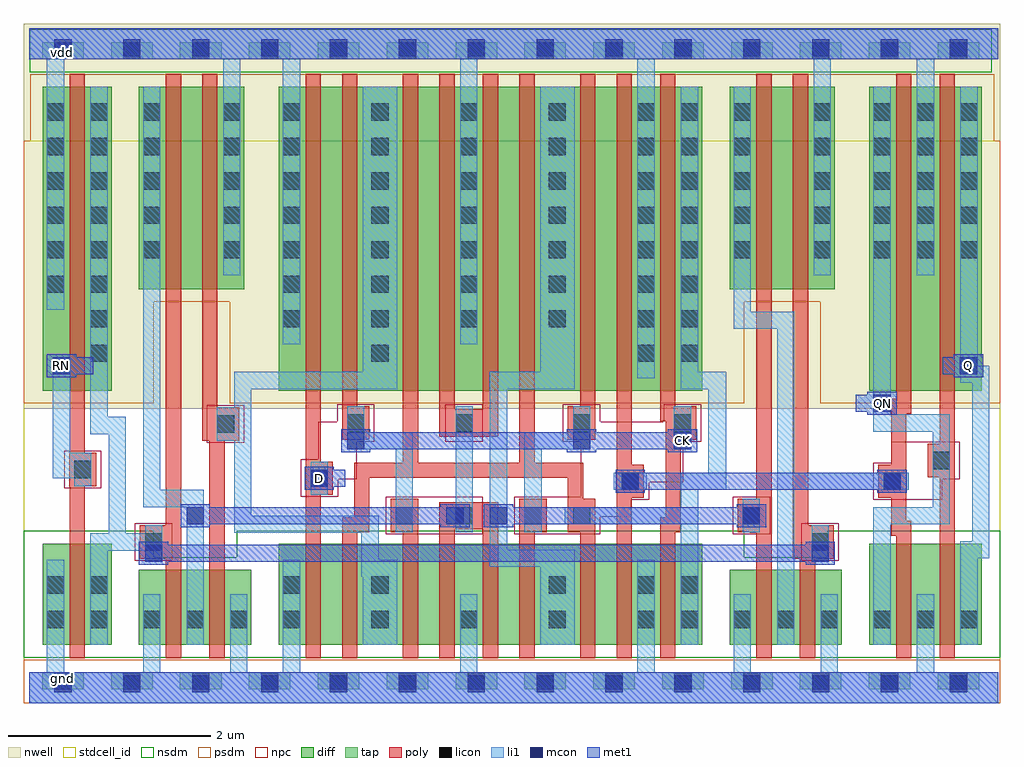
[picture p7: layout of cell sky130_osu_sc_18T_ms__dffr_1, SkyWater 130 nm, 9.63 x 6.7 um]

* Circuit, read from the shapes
.subckt sky130_osu_sc_18T_ms__dffr_1 CK D Q QN RN gnd vdd
XM1 n1 RN gnd gnd sky130_fd_pr__nfet_01v8 w=1 l=0.15
XM2 n2 n1 gnd gnd sky130_fd_pr__nfet_01v8 w=0.74 l=0.15
XM3 gnd n3 n2 gnd sky130_fd_pr__nfet_01v8 w=0.74 l=0.15
XM4 n4 D gnd gnd sky130_fd_pr__nfet_01v8 w=1 l=0.15
XM5 n3 n5 n4 gnd sky130_fd_pr__nfet_01v8 w=1 l=0.15
XM6 n6 CK n3 gnd sky130_fd_pr__nfet_01v8 w=1 l=0.15
XM7 gnd n2 n6 gnd sky130_fd_pr__nfet_01v8 w=1 l=0.15
XM8 n7 n2 gnd gnd sky130_fd_pr__nfet_01v8 w=1 l=0.15
XM9 n8 CK n7 gnd sky130_fd_pr__nfet_01v8 w=1 l=0.15
XM10 n9 n5 n8 gnd sky130_fd_pr__nfet_01v8 w=1 l=0.15
XM11 gnd n10 n9 gnd sky130_fd_pr__nfet_01v8 w=1 l=0.15
XM12 n5 CK gnd gnd sky130_fd_pr__nfet_01v8 w=1 l=0.15
XM13 n10 n8 gnd gnd sky130_fd_pr__nfet_01v8 w=0.74 l=0.15
XM14 gnd n1 n10 gnd sky130_fd_pr__nfet_01v8 w=0.74 l=0.15
XM15 gnd n10 QN gnd sky130_fd_pr__nfet_01v8 w=1 l=0.15
XM16 Q QN gnd gnd sky130_fd_pr__nfet_01v8 w=1 l=0.15
XM17 n1 RN vdd vdd sky130_fd_pr__pfet_01v8 w=3 l=0.15
XM18 n11 n1 n2 vdd sky130_fd_pr__pfet_01v8 w=2 l=0.15
XM19 vdd n3 n11 vdd sky130_fd_pr__pfet_01v8 w=2 l=0.15
XM20 n12 D vdd vdd sky130_fd_pr__pfet_01v8 w=3 l=0.15
XM21 n3 CK n12 vdd sky130_fd_pr__pfet_01v8 w=3 l=0.15
XM22 n13 n5 n3 vdd sky130_fd_pr__pfet_01v8 w=3 l=0.15
XM23 vdd n2 n13 vdd sky130_fd_pr__pfet_01v8 w=3 l=0.15
XM24 n14 n2 vdd vdd sky130_fd_pr__pfet_01v8 w=3 l=0.15
XM25 n8 n5 n14 vdd sky130_fd_pr__pfet_01v8 w=3 l=0.15
XM26 n15 CK n8 vdd sky130_fd_pr__pfet_01v8 w=3 l=0.15
XM27 vdd n10 n15 vdd sky130_fd_pr__pfet_01v8 w=3 l=0.15
XM28 n5 CK vdd vdd sky130_fd_pr__pfet_01v8 w=3 l=0.15
XM29 n16 n8 n10 vdd sky130_fd_pr__pfet_01v8 w=2 l=0.15
XM30 vdd n1 n16 vdd sky130_fd_pr__pfet_01v8 w=2 l=0.15
XM31 vdd n10 QN vdd sky130_fd_pr__pfet_01v8 w=3 l=0.15
XM32 Q QN vdd vdd sky130_fd_pr__pfet_01v8 w=3 l=0.15
.ends

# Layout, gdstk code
import gdstk
lib = gdstk.Library(unit=1e-6, precision=1e-09)
def R(c, l, rs):  # rectangles x0, y0, x1, y1
    for r in rs: c.add(gdstk.rectangle(r[:2], r[2:], *l))
def A(c, l, x, y, w, h, nx, ny, dx, dy):  # array of equal rectangles
    R(c, l, [(x+i*dx, y+j*dy, x+i*dx+w, y+j*dy+h) for i in range(nx) for j in range(ny)])
nwell = (64, 20)
diff = (65, 20)
tap = (65, 44)
poly = (66, 20)
licon = (66, 44)
li1 = (67, 20)
mcon = (67, 44)
met1 = (68, 20)
stdcell_id = (81, 4)
nsdm = (93, 44)
psdm = (94, 20)
npc = (95, 20)

sky130_osu_sc_18t_ms__df = lib.new_cell('sky130_osu_sc_18T_ms__dffr_1')
R(sky130_osu_sc_18t_ms__df, nwell, [(-0.05,2.905,9.585,6.705)])
R(sky130_osu_sc_18t_ms__df, diff, [(0.135,0.575,0.815,1.575), (1.085,0.575,2.195,1.315), (2.465,0.575,6.645,1.575), (6.915,0.575,8.025,1.315), (8.295,0.575,9.405,1.575), (0.135,3.085,0.815,6.085), (2.465,3.085,6.645,6.085), (8.295,3.085,9.405,6.085), (1.085,4.085,2.125,6.085), (6.915,4.085,7.955,6.085)])
A(sky130_osu_sc_18t_ms__df, tap, 0.13, 0.135, 0.41, 0.17, 14, 2, 0.68, 6.22)
R(sky130_osu_sc_18t_ms__df, poly, [(0.4,0.445,0.55,2.135), (1.35,0.445,1.5,1.425), (1.78,0.445,1.93,2.59), (2.73,0.445,2.88,2.055), (3.09,0.445,3.24,1.685), (3.69,0.445,3.84,1.685), (4.05,0.445,4.2,1.715), (4.48,0.445,4.63,1.715), (4.84,0.445,4.99,1.685), (5.44,0.445,5.59,1.685), (5.8,0.445,5.95,2.025), (6.23,0.445,6.38,1.685), (7.18,0.445,7.33,1.68), (7.61,0.445,7.76,1.425), (8.56,0.445,8.71,1.65), (8.99,0.445,9.14,2.23), (1.095,1.425,1.5,1.755), (7.54,1.425,7.945,1.755), (8.51,1.65,8.71,1.8), (7.115,1.68,7.33,1.685), (3.09,1.685,3.36,1.835), (3.57,1.685,3.84,2.015), (4.84,1.685,5.11,2.015), (5.32,1.685,5.59,2.015), (6.23,1.685,6.435,1.835), (6.995,1.685,7.33,2.015), (4.05,1.715,4.63,1.985), (1.35,1.755,1.5,6.215), (7.54,1.755,7.69,6.215), (8.51,1.8,8.66,2.025), (3.21,1.835,3.36,2.225), (6.285,1.835,6.435,2.6), (5.32,2.015,5.47,2.225), (7.18,2.015,7.33,6.215), (5.8,2.025,6.07,2.355), (8.385,2.025,8.66,2.355), (2.73,2.055,3,2.385), (0.395,2.135,0.55,2.14), (0.395,2.14,0.665,2.47), (3.21,2.225,5.47,2.375), (8.87,2.23,9.14,2.56), (5.8,2.355,5.95,6.215), (8.51,2.355,8.66,2.855), (3.69,2.375,3.84,6.215), (4.84,2.375,4.99,6.215), (2.73,2.385,2.88,6.215), (0.4,2.47,0.55,6.215), (8.99,2.56,9.14,6.215), (1.71,2.59,2.075,2.92), (3.09,2.6,3.36,2.93), (5.32,2.6,5.59,2.93), (6.285,2.6,6.585,2.78), (4.05,2.63,4.63,2.9), (6.23,2.78,6.585,2.93), (8.51,2.855,8.71,3.005), (4.05,2.9,4.2,6.215), (4.48,2.9,4.63,6.215), (1.71,2.92,1.86,6.215), (3.09,2.93,3.24,6.215), (5.44,2.93,5.59,6.215), (6.23,2.93,6.38,6.215), (8.56,3.005,8.71,6.215)])
A(sky130_osu_sc_18t_ms__df, licon, 0.25, 0.135, 0.17, 0.17, 14, 2, 0.68, 6.22)
A(sky130_osu_sc_18t_ms__df, licon, 1.125, 0.74, 0.17, 0.17, 3, 1, 0.43, 0)
A(sky130_osu_sc_18t_ms__df, licon, 2.505, 0.74, 0.17, 0.17, 5, 2, 0.875, 2.97)
A(sky130_osu_sc_18t_ms__df, licon, 6.955, 0.74, 0.17, 0.17, 3, 1, 0.43, 0)
A(sky130_osu_sc_18t_ms__df, licon, 8.335, 0.74, 0.17, 0.17, 3, 2, 0.43, 3.65)
A(sky130_osu_sc_18t_ms__df, licon, 0.605, 3.37, 0.17, 0.17, 1, 8, 0, 0.34)
A(sky130_osu_sc_18t_ms__df, licon, 6.435, 3.37, 0.17, 0.17, 1, 8, 0, 0.34)
A(sky130_osu_sc_18t_ms__df, licon, 0.175, 4.05, 0.17, 0.17, 1, 6, 0, 0.34)
A(sky130_osu_sc_18t_ms__df, licon, 2.505, 4.05, 0.17, 0.17, 5, 6, 0.875, 0.34)
A(sky130_osu_sc_18t_ms__df, licon, 1.125, 4.39, 0.17, 0.17, 1, 5, 0, 0.34)
A(sky130_osu_sc_18t_ms__df, licon, 1.915, 4.39, 0.17, 0.17, 1, 5, 0, 0.34)
A(sky130_osu_sc_18t_ms__df, licon, 6.955, 4.39, 0.17, 0.17, 1, 5, 0, 0.34)
A(sky130_osu_sc_18t_ms__df, licon, 7.745, 4.39, 0.17, 0.17, 1, 5, 0, 0.34)
A(sky130_osu_sc_18t_ms__df, licon, 8.335, 4.73, 0.17, 0.17, 3, 4, 0.43, 0.34)
R(sky130_osu_sc_18t_ms__df, licon, [(0.175,0.74,0.345,0.91), (0.605,0.74,0.775,0.91), (6.435,0.74,6.605,0.91), (0.175,1.08,0.345,1.25), (0.605,1.08,0.775,1.25), (2.505,1.08,2.675,1.25), (3.38,1.08,3.55,1.25), (5.13,1.08,5.3,1.25), (6.005,1.08,6.175,1.25), (6.435,1.08,6.605,1.25), (1.145,1.505,1.315,1.675), (7.725,1.505,7.895,1.675), (3.62,1.765,3.79,1.935), (4.21,1.765,4.38,1.935), (4.89,1.765,5.06,1.935), (5.37,1.765,5.54,1.935), (7.045,1.765,7.215,1.935), (5.85,2.105,6.02,2.275), (8.435,2.105,8.605,2.275), (2.78,2.135,2.95,2.305), (0.445,2.22,0.615,2.39), (8.92,2.31,9.09,2.48), (1.855,2.67,2.025,2.84), (3.14,2.68,3.31,2.85), (4.21,2.68,4.38,2.85), (5.37,2.68,5.54,2.85), (6.365,2.68,6.535,2.85), (3.38,3.37,3.55,3.54), (6.005,3.37,6.175,3.54)])
R(sky130_osu_sc_18t_ms__df, li1, [(0,0,9.57,0.305), (0.175,0.305,0.345,1.415), (1.125,0.305,1.295,1.075), (1.985,0.305,2.155,1.075), (2.505,0.305,2.675,1.415), (4.255,0.305,4.425,1.075), (6.005,0.305,6.175,1.415), (6.955,0.305,7.125,1.075), (7.815,0.305,7.985,1.075), (8.765,0.305,8.935,1.075), (0.605,0.575,0.775,1.505), (1.555,0.575,1.725,1.935), (3.295,0.575,3.635,1.245), (5.045,0.575,5.385,1.345), (6.435,0.575,6.605,1.765), (7.385,0.575,7.555,2.105), (8.335,0.575,8.505,1.765), (9.195,0.575,9.365,1.43), (3.28,1.245,3.635,1.415), (4.55,1.345,5.385,1.515), (1.145,1.395,1.315,1.505), (7.725,1.395,7.895,1.755), (3.28,1.415,3.45,1.68), (9.195,1.43,9.48,1.6), (0.605,1.505,1.315,1.675), (4.55,1.515,4.72,3.1), (9.31,1.6,9.48,3.16), (0.785,1.675,0.955,2.655), (1.145,1.675,1.315,1.755), (2.025,1.68,3.45,1.85), (3.62,1.685,3.79,2.505), (4.21,1.685,4.38,1.765), (4.89,1.685,5.06,2.505), (7.045,1.685,7.215,2.015), (4.12,1.765,4.38,1.935), (5.29,1.765,6.605,1.935), (8.335,1.765,9.09,1.935), (2.025,1.85,2.195,2.59), (1.125,1.935,1.725,2.105), (4.21,1.935,4.38,2.93), (6.435,1.935,6.605,2.105), (8.92,1.935,9.09,2.68), (2.78,2.055,2.95,2.385), (1.125,2.105,1.295,6.085), (5.77,2.105,6.1,2.275), (6.435,2.105,6.885,2.275), (7.385,2.105,8.685,2.275), (0.445,2.14,0.615,2.22), (0.235,2.22,0.615,2.47), (6.705,2.275,6.885,3.1), (7.385,2.275,7.555,3.695), (0.235,2.47,0.405,3.415), (3.14,2.505,3.79,2.675), (4.89,2.505,5.54,2.675), (6.365,2.505,6.535,2.93), (1.855,2.59,2.195,2.92), (0.605,2.655,0.955,2.825), (3.14,2.675,3.31,2.93), (5.37,2.675,5.54,2.93), (8.335,2.68,9.09,2.85), (0.605,2.825,0.775,6.085), (8.335,2.85,8.505,6.085), (2.025,2.92,2.195,3.1), (2.025,3.1,3.635,3.27), (4.55,3.1,5.385,3.27), (6.435,3.1,6.885,3.27), (9.195,3.16,9.48,3.245), (6.005,3.205,6.175,6.355), (9.19,3.245,9.48,3.33), (3.295,3.27,3.635,6.085), (5.045,3.27,5.385,6.085), (6.435,3.27,6.605,6.085), (9.19,3.33,9.365,3.415), (9.195,3.415,9.365,6.085), (2.505,3.545,2.675,6.355), (4.255,3.545,4.425,6.355), (6.955,3.695,7.555,3.865), (6.955,3.865,7.125,6.085), (0.175,3.885,0.345,6.355), (1.915,4.225,2.085,6.355), (7.745,4.225,7.915,6.355), (8.765,4.225,8.935,6.355), (0,6.355,9.57,6.66)])
A(sky130_osu_sc_18t_ms__df, mcon, 0.25, 0.105, 0.17, 0.17, 14, 2, 0.68, 6.28)
R(sky130_osu_sc_18t_ms__df, mcon, [(1.145,1.395,1.315,1.565), (7.725,1.395,7.895,1.565), (1.555,1.765,1.725,1.935), (4.12,1.765,4.29,1.935), (4.55,1.765,4.72,1.935), (7.045,1.765,7.215,1.935), (5.85,2.105,6.02,2.275), (8.435,2.105,8.605,2.275), (2.78,2.135,2.95,2.305), (3.14,2.505,3.31,2.675), (5.37,2.505,5.54,2.675), (6.365,2.505,6.535,2.675), (8.335,2.875,8.505,3.045), (0.235,3.245,0.405,3.415), (9.19,3.245,9.36,3.415)])
R(sky130_osu_sc_18t_ms__df, met1, [(0,0,9.57,0.305), (1.085,1.365,1.375,1.395), (7.665,1.365,7.955,1.395), (1.085,1.395,7.955,1.565), (1.085,1.565,1.375,1.595), (7.665,1.565,7.955,1.595), (1.495,1.735,1.785,1.765), (4.06,1.735,4.35,1.765), (4.49,1.735,4.78,1.765), (6.985,1.735,7.275,1.765), (1.495,1.765,4.35,1.935), (4.49,1.765,7.275,1.935), (1.495,1.935,1.785,1.965), (4.06,1.935,4.35,1.965), (4.49,1.935,4.78,1.965), (6.985,1.935,7.275,1.965), (5.79,2.075,6.08,2.105), (8.375,2.075,8.665,2.105), (2.72,2.105,3.01,2.135), (5.79,2.105,8.665,2.275), (2.72,2.135,3.12,2.305), (5.79,2.275,6.08,2.305), (8.375,2.275,8.665,2.305), (2.72,2.305,3.01,2.335), (3.08,2.475,3.37,2.505), (5.31,2.475,5.6,2.505), (6.305,2.475,6.595,2.505), (3.08,2.505,6.595,2.675), (3.08,2.675,3.37,2.705), (5.31,2.675,5.6,2.705), (6.305,2.675,6.595,2.705), (8.275,2.845,8.565,2.875), (8.16,2.875,8.565,3.045), (8.275,3.045,8.565,3.075), (0.175,3.215,0.465,3.245), (9.13,3.215,9.42,3.245), (0.175,3.245,0.635,3.415), (9.02,3.245,9.42,3.415), (0.175,3.415,0.465,3.445), (9.13,3.415,9.42,3.445), (0,6.355,9.57,6.66)])
R(sky130_osu_sc_18t_ms__df, stdcell_id, [(-0.05,0,9.585,5.55)])
R(sky130_osu_sc_18t_ms__df, nsdm, [(-0.05,0.45,9.585,1.44), (-0.05,1.44,1.23,1.7), (2.05,1.44,7.06,1.7), (7.88,1.44,9.585,1.7), (0.005,6.23,9.505,6.65)])
R(sky130_osu_sc_18t_ms__df, psdm, [(-0.05,0,9.585,0.43), (-0.05,2.96,1.23,3.96), (1.98,2.96,7.06,3.96), (7.81,2.96,9.585,3.96), (-0.05,3.96,9.585,5.55), (0.01,5.55,9.53,6.21)])
R(sky130_osu_sc_18t_ms__df, npc, [(1.045,1.405,1.415,1.775), (7.625,1.405,7.995,1.775), (3.52,1.665,4.48,2.035), (4.79,1.665,5.64,1.84), (6.945,1.665,7.315,2.035), (4.79,1.84,5.945,2.005), (4.79,2.005,6.12,2.035), (8.335,2.005,9.015,2.21), (2.68,2.035,3.05,2.21), (5.445,2.035,6.12,2.18), (0.345,2.12,0.715,2.49), (5.445,2.18,6.46,2.58), (2.68,2.21,3.235,2.405), (8.335,2.21,9.19,2.375), (8.51,2.375,9.19,2.58), (2.855,2.405,3.235,2.58), (1.755,2.57,2.125,2.94), (2.855,2.58,3.41,2.775), (4.11,2.58,4.48,2.95), (5.27,2.58,6.635,2.775), (3.04,2.775,3.41,2.95), (5.27,2.775,5.64,2.95), (6.265,2.775,6.635,2.95)])
sky130_osu_sc_18t_ms__df.add(gdstk.Label('gnd', (0.335,0.24), layer=68, texttype=16))
sky130_osu_sc_18t_ms__df.add(gdstk.Label('vdd', (0.335,6.42), layer=68, texttype=16))
sky130_osu_sc_18t_ms__df.add(gdstk.Label('RN', (0.325,3.33), layer=68, texttype=5))
sky130_osu_sc_18t_ms__df.add(gdstk.Label('D', (2.865,2.22), layer=68, texttype=5))
sky130_osu_sc_18t_ms__df.add(gdstk.Label('CK', (6.45,2.59), layer=68, texttype=5))
sky130_osu_sc_18t_ms__df.add(gdstk.Label('Q', (9.275,3.33), layer=68, texttype=5))
sky130_osu_sc_18t_ms__df.add(gdstk.Label('QN', (8.425,2.96), layer=68, texttype=5))

lib.write_gds('sky130_osu_sc_18T_ms__dffr_1.gds')
